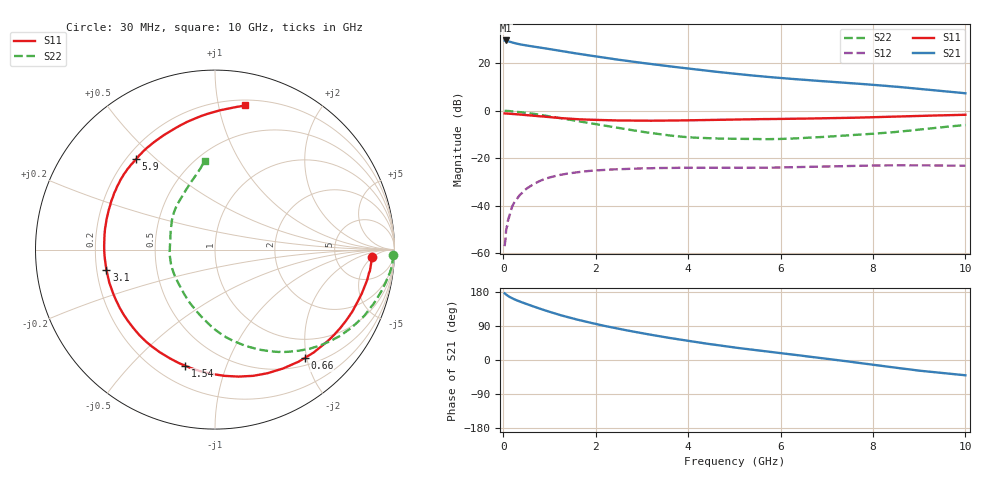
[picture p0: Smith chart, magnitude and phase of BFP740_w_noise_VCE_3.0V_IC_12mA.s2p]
! Infineon Technologies  Discrete & RF Semiconductors
! BFP740
! VCE =  3.0 V,  IC =  12 mA
! Common Emitter S-Parameters:  Jan 2016
# GHz  S  MA  R  50
!  f  S11  S21  S12  S22
! GHz  MAG  ANG  MAG  ANG  MAG  ANG  MAG  ANG
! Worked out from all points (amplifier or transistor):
!   229 points, 30 MHz to 10 GHz, reference 50 ohm
!   highest |S21| = 29.6 dB at 50 MHz (marker M1)
!   |S21| within 3 dB of that: start of sweep to 802.7 MHz
!   unconditionally stable (mu >= 1): 6.961 GHz to end of sweep
!   at 280 MHz: K = 0.17, MSG = 32.9 dB, |S12| = -37.5 dB
!   at 1.78 GHz: K = 0.35, MSG = 24.5 dB, |S12| = -25.5 dB
!   at 10 GHz: K = 1.05, MAG = 13.8 dB, |S12| = -23.2 dB
!   lowest NFmin = 0.54 dB at 450 MHz
!   S11 on the Smith chart (normalised r, x): 30 MHz: 14, -5; 660 MHz: 0.63, -1.96; 1.54 GHz: 0.31, -0.73; 3.1 GHz: 0.24, -0.09; 5.9 GHz: 0.24, +0.43; 10 GHz: 0.24, +1.20
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0.03  0.8776 -2.6  30.15 176.0  0.0014 58.4  0.9941 -1.7
0.05  0.8743 -4.2  30.19 174.2  0.002 113.7  0.9922 -2.9
0.09  0.8712 -7.8  29.43 170.2  0.0037 93.8  0.991 -5.2
0.13  0.865 -11.1  28.58 167.0  0.0058 79.3  0.9824 -7.6
0.26  0.8438 -21.3  26.36 159.1  0.0126 78.4  0.9549 -14.2
0.45  0.8163 -35.5  24.21 150.1  0.0207 70.5  0.9134 -23.2
0.66  0.7837 -50.4  22.38 141.1  0.0284 62.3  0.8592 -32.4
0.9  0.7483 -67.0  20.68 131.1  0.0365 54.1  0.7924 -42.4
1.1  0.7196 -79.5  19.17 123.5  0.0415 47.9  0.7347 -50.0
1.54  0.6682 -104.3  16.31 108.6  0.0496 37.2  0.6212 -64.5
1.7  0.6558 -112.7  15.45 103.7  0.0518 34.0  0.5837 -69.3
2.1  0.636 -131.7  13.48 92.4  0.0559 26.8  0.5021 -81.2
2.32  0.627 -140.8  12.54 86.7  0.0576 23.4  0.4639 -87.0
2.7  0.6188 -155.4  11.14 77.6  0.0597 18.4  0.4021 -97.2
3.1  0.6153 -169.4  9.9 68.6  0.0611 13.7  0.3491 -108.9
3.4  0.617 -179.0  9.097 62.3  0.062 10.8  0.3188 -118.3
4.1  0.6293 161.8  7.533 48.6  0.0627 5.0  0.272 -141.7
5.1  0.6559 142.0  5.887 31.5  0.0627 -0.7  0.2547 -170.3
5.9  0.6692 131.1  4.977 19.6  0.0634 -3.1  0.2528 171.3
6.8  0.6885 119.6  4.264 6.3  0.0662 -6.6  0.2751 152.8
8.4  0.7473 96.2  3.264 -18.9  0.0705 -15.6  0.3499 121.5
10  0.8206 78.1  2.331 -40.3  0.0695 -23.2  0.499 96.5
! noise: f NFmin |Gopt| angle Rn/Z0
0.45  0.54  0.16  4  0.16
0.9  0.55  0.16  11  0.16
1.5  0.57  0.15  22  0.15
1.9  0.6  0.15  39  0.15
2.4  0.63  0.15  46  0.14
3.5  0.73  0.13  57  0.13
5.5  0.9  0.16  211  0.12
10  1.33  0.5  -72  0.16
